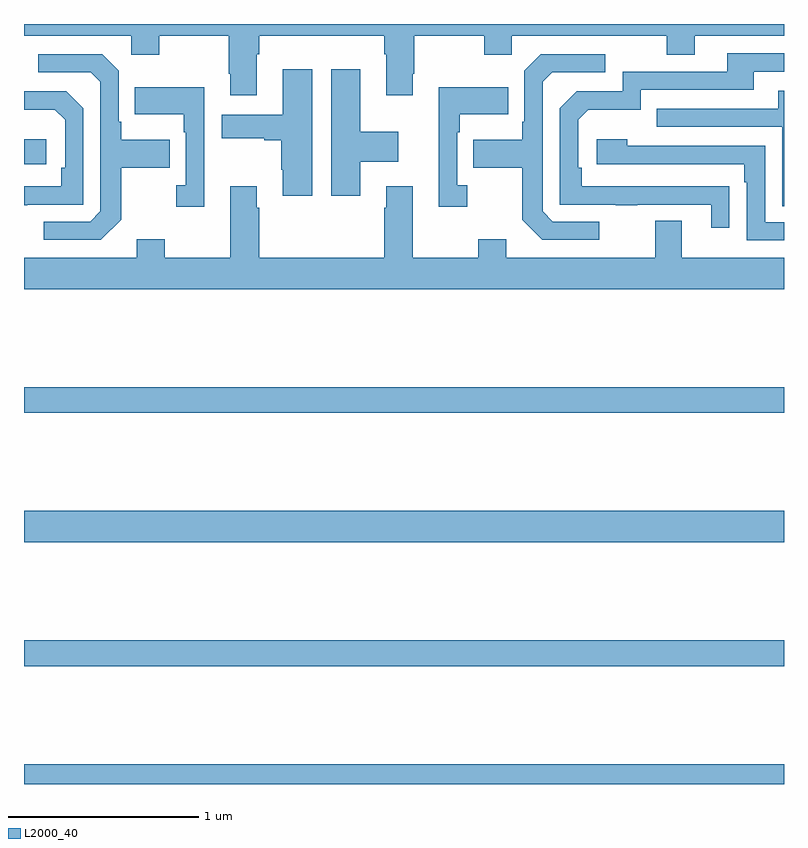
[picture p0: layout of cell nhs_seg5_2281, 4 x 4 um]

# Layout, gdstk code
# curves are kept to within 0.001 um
import gdstk
lib = gdstk.Library(unit=1e-6, precision=1e-09)
def R(c, l, rs):  # rectangles x0, y0, x1, y1
    for r in rs: c.add(gdstk.rectangle(r[:2], r[2:], *l))
def P(c, l, *ps):  # polygons
    for p in ps: c.add(gdstk.Polygon(p, *l))
L2000_40 = (2000, 40)

nhs_seg5_2281 = lib.new_cell('nhs_seg5_2281')
R(nhs_seg5_2281, L2000_40, [(243,876.799,247,876.904), (243,877.42,247,877.556), (243,878.072,247,878.236), (243,878.752,247,878.888), (243,880.062,243.118,880.192)])
P(nhs_seg5_2281, L2000_40, [(243,880.736),(243.564,880.736),(243.564,880.637),(243.711,880.637),(243.711,880.736),(244.078,880.736),(244.078,880.537),(244.085,880.537),(244.085,880.425),(244.225,880.425),(244.225,880.64),(244.238,880.64),(244.238,880.736),(244.895,880.736),(244.895,880.64),(244.907,880.64),(244.907,880.425),(245.047,880.425),(245.047,880.537),(245.055,880.537),(245.055,880.736),(245.422,880.736),(245.422,880.637),(245.568,880.637),(245.568,880.736),(246.382,880.736),(246.382,880.637),(246.529,880.637),(246.529,880.736),(247,880.736),(247,880.799),(243,880.799)],
  [(246.713,879.944),(245.936,879.945),(245.936,880.042),(245.916,880.042),(245.916,880.296),(245.969,880.349),(246.246,880.349),(246.246,880.452),(246.841,880.452),(246.841,880.548),(247,880.548),(247,880.644),(246.701,880.644),(246.701,880.548),(246.15,880.548),(246.15,880.446),(245.91,880.446),(245.82,880.356),(245.82,879.849),(246.115,879.849),(246.115,879.844),(246.227,879.844),(246.227,879.849),(246.617,879.849),(246.617,879.726),(246.713,879.726)],
  [(246.028,879.759),(245.784,879.759),(245.73,879.813),(245.73,880.494),(245.781,880.545),(246.058,880.545),(246.058,880.641),(245.721,880.641),(245.634,880.554),(245.634,880.285),(245.622,880.285),(245.622,880.189),(245.365,880.189),(245.365,880.042),(245.622,880.042),(245.622,879.769),(245.727,879.663),(246.028,879.663)],
  [(243.511,879.769),(243.511,880.042),(243.767,880.042),(243.767,880.189),(243.511,880.189),(243.511,880.285),(243.498,880.285),(243.498,880.554),(243.411,880.641),(243.075,880.641),(243.075,880.545),(243.351,880.545),(243.402,880.494),(243.402,879.813),(243.348,879.759),(243.105,879.759),(243.105,879.663),(243.405,879.663)],
  [(244.771,880.073),(244.969,880.073),(244.969,880.231),(244.771,880.231),(244.771,880.561),(244.616,880.561),(244.616,879.894),(244.771,879.894)],
  [(244.516,880.561),(244.361,880.561),(244.361,880.321),(244.041,880.321),(244.041,880.199),(244.265,880.199),(244.265,880.187),(244.354,880.187),(244.354,880.033),(244.361,880.033),(244.361,879.894),(244.516,879.894)],
  [(243.949,880.103),(243.948,880.103),(243.948,880.465),(243.583,880.465),(243.583,880.325),(243.84,880.325),(243.84,880.229),(243.852,880.229),(243.852,879.95),(243.801,879.95),(243.801,879.837),(243.949,879.837)],
  [(245.332,879.95),(245.28,879.95),(245.28,880.229),(245.293,880.229),(245.293,880.325),(245.549,880.325),(245.549,880.465),(245.183,880.465),(245.183,879.837),(245.332,879.837)],
  [(247,880.447),(246.971,880.447),(246.971,880.353),(246.331,880.353),(246.331,880.257),(246.99,880.257),(246.99,879.841),(247,879.841)],
  [(243.017,879.849),(243.312,879.849),(243.312,880.356),(243.222,880.446),(243,880.446),(243,880.349),(243.163,880.349),(243.216,880.296),(243.216,880.042),(243.196,880.042),(243.196,879.945),(243,879.945),(243,879.844),(243.017,879.844)],
  [(247,879.756),(246.9,879.756),(246.9,880.158),(246.176,880.158),(246.176,880.192),(246.015,880.192),(246.015,880.062),(246.791,880.062),(246.791,879.965),(246.804,879.965),(246.804,879.66),(247,879.66)],
  [(247,879.568),(246.463,879.568),(246.463,879.763),(246.323,879.763),(246.323,879.568),(245.539,879.568),(245.539,879.667),(245.392,879.667),(245.392,879.568),(245.047,879.568),(245.047,879.946),(244.907,879.946),(244.907,879.833),(244.895,879.833),(244.895,879.568),(244.238,879.568),(244.238,879.833),(244.225,879.833),(244.225,879.946),(244.085,879.946),(244.085,879.568),(243.741,879.568),(243.741,879.667),(243.593,879.667),(243.593,879.568),(243,879.568),(243,879.404),(247,879.404)])

lib.write_gds('nhs_seg5_2281.gds')
